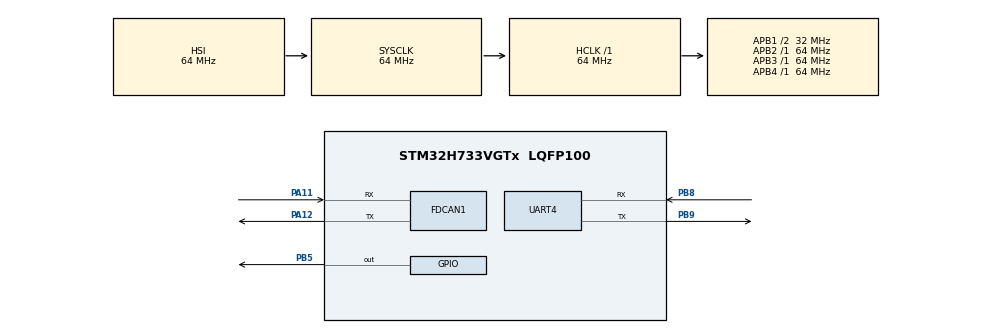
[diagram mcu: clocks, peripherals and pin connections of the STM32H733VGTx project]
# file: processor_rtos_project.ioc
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FDCAN1.AutoRetransmission=ENABLE
FDCAN1.CalculateBaudRateNominal=250000
FDCAN1.CalculateTimeBitNominal=4000
FDCAN1.CalculateTimeQuantumNominal=500.0
FDCAN1.DataPrescaler=4
FDCAN1.DataSyncJumpWidth=4
FDCAN1.DataTimeSeg1=4
FDCAN1.Mode=FDCAN_MODE_EXTERNAL_LOOPBACK
FDCAN1.NominalPrescaler=20
FDCAN1.NominalSyncJumpWidth=4
FDCAN1.NominalTimeSeg1=4
FDCAN1.NominalTimeSeg2=3
FDCAN1.RxFifo0ElmtsNbr=64
FDCAN1.TxEventsNbr=32
FDCAN1.TxFifoQueueElmtsNbr=32
Mcu.Family=STM32H7
Mcu.Name=STM32H733VGTx
Mcu.Package=LQFP100
NVIC.PriorityGroup=NVIC_PRIORITYGROUP_4
NVIC.RTC_Alarm_IRQn=true\:0\:0\:false\:false\:true\:true\:true\:true
NVIC.TIM6_DAC_IRQn=true\:15\:0\:false\:false\:true\:false\:true\:true
NVIC.TimeBase=TIM6_DAC_IRQn
NVIC.TimeBaseIP=TIM6
PA11.Mode=FDCAN_Activate
PA11.Signal=FDCAN1_RX
PA12.Mode=FDCAN_Activate
PA12.Signal=FDCAN1_TX
PB5.Signal=GPIO_Output
PB8.Mode=Asynchronous
PB8.Signal=UART4_RX
PB9.Mode=Asynchronous
PB9.Signal=UART4_TX
ProjectManager.HeapSize=0x200
ProjectManager.StackSize=0x400
ProjectManager.TargetToolchain=STM32CubeIDE
RCC.ADCFreq_Value=129000000
RCC.APB1Freq_Value=32000000
RCC.APB2Freq_Value=64000000
RCC.APB3Freq_Value=64000000
RCC.APB4Freq_Value=64000000
RCC.CortexFreq_Value=64000000
RCC.D2PPRE1=RCC_APB1_DIV2
RCC.DIVM1=4
RCC.DIVN1=12
RCC.DIVQ1=5
RCC.HCLKFreq_Value=64000000
RCC.PLLFRACN=4096
RCC.SYSCLKFreq_VALUE=64000000
RCC.USBFreq_Value=40000000
RTC.Alarm-Alarm\ A=RTC_ALARM_A
VP_RTC_VS_RTC_Activate.Mode=RTC_Enabled
VP_RTC_VS_RTC_Alarm_A_Intern.Mode=Alarm A
VP_RTC_VS_RTC_Calendar.Mode=RTC_Calendar
VP_SYS_VS_tim6.Mode=TIM6
board=custom

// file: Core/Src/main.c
/* USER CODE BEGIN Header */
/**
  ******************************************************************************
  * @file           : main.c
  * @brief          : Main program body
  ******************************************************************************
  * @attention
  *
  * Copyright (c) 2024 STMicroelectronics.
  * All rights reserved.
  *
  * This software is licensed under terms that can be found in the LICENSE file
  * in the root directory of this software component.
  * If no LICENSE file comes with this software, it is provided AS-IS.
  *
  ******************************************************************************
  */
/* USER CODE END Header */
#include "main.h"

/* USER CODE BEGIN Includes */
#include <string.h>
/* USER CODE END Includes */

/* USER CODE BEGIN PD */
FDCAN_TxHeaderTypeDef   TxHeader1;
FDCAN_RxHeaderTypeDef   RxHeader1;
uint8_t TxData[8];
uint8_t RxData[8];

int indx = 0;

// FDCAN1 Callback
void HAL_FDCAN_RxFifo0Callback(FDCAN_HandleTypeDef *hfdcan, uint32_t RxFifo0ITs)
{
  if((RxFifo0ITs & FDCAN_IT_RX_FIFO0_NEW_MESSAGE) != RESET)
  {
    /* Retreive Rx messages from RX FIFO0 */
    HAL_FDCAN_GetRxMessage(hfdcan, FDCAN_RX_FIFO0, &RxHeader1, RxData);

    HAL_FDCAN_ActivateNotification(hfdcan, FDCAN_IT_RX_FIFO0_NEW_MESSAGE, 0);

  }
}
/* USER CODE END PD */

FDCAN_HandleTypeDef hfdcan1;

RTC_HandleTypeDef hrtc;

UART_HandleTypeDef huart4;

void SystemClock_Config(void);
static void MX_GPIO_Init(void);
static void MX_UART4_Init(void);
static void MX_RTC_Init(void);
static void MX_FDCAN1_Init(void);

int main(void)
{

  /* MCU Configuration--------------------------------------------------------*/

  /* Reset of all peripherals, Initializes the Flash interface and the Systick. */
  HAL_Init();

  /* Configure the system clock */
  SystemClock_Config();

  /* Initialize all configured peripherals */
  MX_GPIO_Init();
  MX_UART4_Init();
  MX_RTC_Init();
  MX_FDCAN1_Init();
  /* USER CODE BEGIN 2 */
  // STart FDCAN1
  if(HAL_FDCAN_Start(&hfdcan1)!= HAL_OK)
  {
   Error_Handler();
  }

  // Activate the notification for new data in FIFO0 for FDCAN1
  if (HAL_FDCAN_ActivateNotification(&hfdcan1, FDCAN_IT_RX_FIFO0_NEW_MESSAGE, 0) != HAL_OK)
  {
    /* Notification Error */
    Error_Handler();
  }

  /* USER CODE END 2 */

  /* Infinite loop */
  while (1)
  {

    /* USER CODE BEGIN 3 */
	  sprintf ((char *)TxData, "CANTX%d", indx++);
	  //get_time();

	  /* Retreive Rx messages from RX FIFO0 */
	  //HAL_FDCAN_GetRxMessage(&hfdcan1, FDCAN_RX_FIFO0, &RxHeader1, time);

	  //HAL_FDCAN_ActivateNotification(hfdcan1, FDCAN_IT_RX_FIFO0_NEW_MESSAGE, 0);

	  /*for (int i = 0; i < 12; i++) {
	          TxData[i] = RxData[i];
	      }*/
	  if (HAL_FDCAN_AddMessageToTxFifoQ(&hfdcan1, &TxHeader1, TxData)!= HAL_OK)
	   {
	    Error_Handler();
	   }

	   HAL_Delay (1000);
  }
  /* USER CODE END 3 */
}

void SystemClock_Config(void)
{
  RCC_OscInitTypeDef RCC_OscInitStruct = {0};
  RCC_ClkInitTypeDef RCC_ClkInitStruct = {0};

  /** Supply configuration update enable
  */
  HAL_PWREx_ConfigSupply(PWR_LDO_SUPPLY);

  /** Configure the main internal regulator output voltage
  */
  __HAL_PWR_VOLTAGESCALING_CONFIG(PWR_REGULATOR_VOLTAGE_SCALE3);

  while(!__HAL_PWR_GET_FLAG(PWR_FLAG_VOSRDY)) {}

  /** Initializes the RCC Oscillators according to the specified parameters
  * in the RCC_OscInitTypeDef structure.
  */
  RCC_OscInitStruct.OscillatorType = RCC_OSCILLATORTYPE_HSI|RCC_OSCILLATORTYPE_LSI;
  RCC_OscInitStruct.HSIState = RCC_HSI_DIV1;
  RCC_OscInitStruct.HSICalibrationValue = 64;
  RCC_OscInitStruct.LSIState = RCC_LSI_ON;
  RCC_OscInitStruct.PLL.PLLState = RCC_PLL_ON;
  RCC_OscInitStruct.PLL.PLLSource = RCC_PLLSOURCE_HSI;
  RCC_OscInitStruct.PLL.PLLM = 4;
  RCC_OscInitStruct.PLL.PLLN = 12;
  RCC_OscInitStruct.PLL.PLLP = 2;
  RCC_OscInitStruct.PLL.PLLQ = 5;
  RCC_OscInitStruct.PLL.PLLR = 2;
  RCC_OscInitStruct.PLL.PLLRGE = RCC_PLL1VCIRANGE_3;
  RCC_OscInitStruct.PLL.PLLVCOSEL = RCC_PLL1VCOWIDE;
  RCC_OscInitStruct.PLL.PLLFRACN = 4096;
  if (HAL_RCC_OscConfig(&RCC_OscInitStruct) != HAL_OK)
  {
    Error_Handler();
  }

  /** Initializes the CPU, AHB and APB buses clocks
  */
  RCC_ClkInitStruct.ClockType = RCC_CLOCKTYPE_HCLK|RCC_CLOCKTYPE_SYSCLK
                              |RCC_CLOCKTYPE_PCLK1|RCC_CLOCKTYPE_PCLK2
                              |RCC_CLOCKTYPE_D3PCLK1|RCC_CLOCKTYPE_D1PCLK1;
  RCC_ClkInitStruct.SYSCLKSource = RCC_SYSCLKSOURCE_HSI;
  RCC_ClkInitStruct.SYSCLKDivider = RCC_SYSCLK_DIV1;
  RCC_ClkInitStruct.AHBCLKDivider = RCC_HCLK_DIV1;
  RCC_ClkInitStruct.APB3CLKDivider = RCC_APB3_DIV1;
  RCC_ClkInitStruct.APB1CLKDivider = RCC_APB1_DIV2;
  RCC_ClkInitStruct.APB2CLKDivider = RCC_APB2_DIV1;
  RCC_ClkInitStruct.APB4CLKDivider = RCC_APB4_DIV1;

  if (HAL_RCC_ClockConfig(&RCC_ClkInitStruct, FLASH_LATENCY_1) != HAL_OK)
  {
    Error_Handler();
  }
}

static void MX_FDCAN1_Init(void)
{

  hfdcan1.Instance = FDCAN1;
  hfdcan1.Init.FrameFormat = FDCAN_FRAME_CLASSIC;
  hfdcan1.Init.Mode = FDCAN_MODE_EXTERNAL_LOOPBACK;
  hfdcan1.Init.AutoRetransmission = ENABLE;
  hfdcan1.Init.TransmitPause = DISABLE;
  hfdcan1.Init.ProtocolException = DISABLE;
  hfdcan1.Init.NominalPrescaler = 20;
  hfdcan1.Init.NominalSyncJumpWidth = 4;
  hfdcan1.Init.NominalTimeSeg1 = 4;
  hfdcan1.Init.NominalTimeSeg2 = 3;
  hfdcan1.Init.DataPrescaler = 4;
  hfdcan1.Init.DataSyncJumpWidth = 4;
  hfdcan1.Init.DataTimeSeg1 = 4;
  hfdcan1.Init.DataTimeSeg2 = 1;
  hfdcan1.Init.MessageRAMOffset = 0;
  hfdcan1.Init.StdFiltersNbr = 0;
  hfdcan1.Init.ExtFiltersNbr = 0;
  hfdcan1.Init.RxFifo0ElmtsNbr = 64;
  hfdcan1.Init.RxFifo0ElmtSize = FDCAN_DATA_BYTES_8;
  hfdcan1.Init.RxFifo1ElmtsNbr = 0;
  hfdcan1.Init.RxFifo1ElmtSize = FDCAN_DATA_BYTES_8;
  hfdcan1.Init.RxBuffersNbr = 0;
  hfdcan1.Init.RxBufferSize = FDCAN_DATA_BYTES_8;
  hfdcan1.Init.TxEventsNbr = 32;
  hfdcan1.Init.TxBuffersNbr = 0;
  hfdcan1.Init.TxFifoQueueElmtsNbr = 32;
  hfdcan1.Init.TxFifoQueueMode = FDCAN_TX_FIFO_OPERATION;
  hfdcan1.Init.TxElmtSize = FDCAN_DATA_BYTES_8;
  if (HAL_FDCAN_Init(&hfdcan1) != HAL_OK)
  {
    Error_Handler();
  }
  /* USER CODE BEGIN FDCAN1_Init 2 */
  // Configure TX Header for FDCAN1
  TxHeader1.Identifier = 0x11;
  TxHeader1.IdType = FDCAN_STANDARD_ID;
  TxHeader1.TxFrameType = FDCAN_DATA_FRAME;
  TxHeader1.DataLength = FDCAN_DLC_BYTES_8;
  TxHeader1.ErrorStateIndicator = FDCAN_ESI_ACTIVE;
  TxHeader1.BitRateSwitch = FDCAN_BRS_OFF;
  TxHeader1.FDFormat = FDCAN_CLASSIC_CAN;
  TxHeader1.TxEventFifoControl = FDCAN_NO_TX_EVENTS;
  TxHeader1.MessageMarker = 0;
  /* USER CODE END FDCAN1_Init 2 */

}

static void MX_RTC_Init(void)
{

  RTC_TimeTypeDef sTime = {0};
  RTC_DateTypeDef sDate = {0};
  RTC_AlarmTypeDef sAlarm = {0};

  /** Initialize RTC Only
  */
  hrtc.Instance = RTC;
  hrtc.Init.HourFormat = RTC_HOURFORMAT_24;
  hrtc.Init.AsynchPrediv = 127;
  hrtc.Init.SynchPrediv = 255;
  hrtc.Init.OutPut = RTC_OUTPUT_DISABLE;
  hrtc.Init.OutPutPolarity = RTC_OUTPUT_POLARITY_HIGH;
  hrtc.Init.OutPutType = RTC_OUTPUT_TYPE_OPENDRAIN;
  hrtc.Init.OutPutRemap = RTC_OUTPUT_REMAP_NONE;
  if (HAL_RTC_Init(&hrtc) != HAL_OK)
  {
    Error_Handler();
  }

  /** Initialize RTC and set the Time and Date
  */
  sTime.Hours = 0x0;
  sTime.Minutes = 0x0;
  sTime.Seconds = 0x0;
  sTime.DayLightSaving = RTC_DAYLIGHTSAVING_NONE;
  sTime.StoreOperation = RTC_STOREOPERATION_RESET;
  if (HAL_RTC_SetTime(&hrtc, &sTime, RTC_FORMAT_BCD) != HAL_OK)
  {
    Error_Handler();
  }
  sDate.WeekDay = RTC_WEEKDAY_MONDAY;
  sDate.Month = RTC_MONTH_JANUARY;
  sDate.Date = 0x1;
  sDate.Year = 0x0;
  if (HAL_RTC_SetDate(&hrtc, &sDate, RTC_FORMAT_BCD) != HAL_OK)
  {
    Error_Handler();
  }

  /** Enable the Alarm A
  */
  sAlarm.AlarmTime.Hours = 0x0;
  sAlarm.AlarmTime.Minutes = 0x0;
  sAlarm.AlarmTime.Seconds = 0x0;
  sAlarm.AlarmTime.SubSeconds = 0x0;
  sAlarm.AlarmTime.DayLightSaving = RTC_DAYLIGHTSAVING_NONE;
  sAlarm.AlarmTime.StoreOperation = RTC_STOREOPERATION_RESET;
  sAlarm.AlarmMask = RTC_ALARMMASK_NONE;
  sAlarm.AlarmSubSecondMask = RTC_ALARMSUBSECONDMASK_ALL;
  sAlarm.AlarmDateWeekDaySel = RTC_ALARMDATEWEEKDAYSEL_DATE;
  sAlarm.AlarmDateWeekDay = 0x1;
  sAlarm.Alarm = RTC_ALARM_A;
  if (HAL_RTC_SetAlarm_IT(&hrtc, &sAlarm, RTC_FORMAT_BCD) != HAL_OK)
  {
    Error_Handler();
  }

}

static void MX_UART4_Init(void)
{

  huart4.Instance = UART4;
  huart4.Init.BaudRate = 115200;
  huart4.Init.WordLength = UART_WORDLENGTH_8B;
  huart4.Init.StopBits = UART_STOPBITS_1;
  huart4.Init.Parity = UART_PARITY_NONE;
  huart4.Init.Mode = UART_MODE_TX_RX;
  huart4.Init.HwFlowCtl = UART_HWCONTROL_NONE;
  huart4.Init.OverSampling = UART_OVERSAMPLING_16;
  huart4.Init.OneBitSampling = UART_ONE_BIT_SAMPLE_DISABLE;
  huart4.Init.ClockPrescaler = UART_PRESCALER_DIV1;
  huart4.AdvancedInit.AdvFeatureInit = UART_ADVFEATURE_NO_INIT;
  if (HAL_UART_Init(&huart4) != HAL_OK)
  {
    Error_Handler();
  }
  if (HAL_UARTEx_SetTxFifoThreshold(&huart4, UART_TXFIFO_THRESHOLD_1_8) != HAL_OK)
  {
    Error_Handler();
  }
  if (HAL_UARTEx_SetRxFifoThreshold(&huart4, UART_RXFIFO_THRESHOLD_1_8) != HAL_OK)
  {
    Error_Handler();
  }
  if (HAL_UARTEx_DisableFifoMode(&huart4) != HAL_OK)
  {
    Error_Handler();
  }

}

static void MX_GPIO_Init(void)
{
  GPIO_InitTypeDef GPIO_InitStruct = {0};

  /* GPIO Ports Clock Enable */
  __HAL_RCC_GPIOA_CLK_ENABLE();
  __HAL_RCC_GPIOB_CLK_ENABLE();

  /*Configure GPIO pin Output Level */
  HAL_GPIO_WritePin(GPIOB, GPIO_PIN_5, GPIO_PIN_RESET);

  /*Configure GPIO pin : PB5 */
  GPIO_InitStruct.Pin = GPIO_PIN_5;
  GPIO_InitStruct.Mode = GPIO_MODE_OUTPUT_PP;
  GPIO_InitStruct.Pull = GPIO_NOPULL;
  GPIO_InitStruct.Speed = GPIO_SPEED_FREQ_LOW;
  HAL_GPIO_Init(GPIOB, &GPIO_InitStruct);

}

void Error_Handler(void)
{
  __disable_irq();
  while (1)
  {
  }
}
